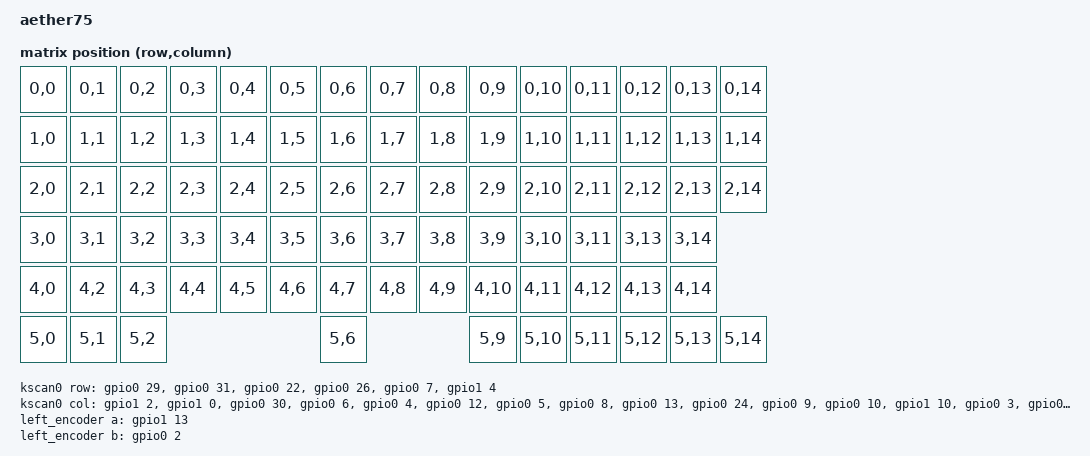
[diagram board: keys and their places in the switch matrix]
/*
 * Copyright (c) 2025 Miguelio
 *
 * SPDX-License-Identifier: MIT
 */

/dts-v1/;
#include <nordic/nrf52840_qiaa.dtsi>
#include <dt-bindings/zmk/matrix_transform.h>
#include "ansi.dtsi"
#include "aether75-pinctrl.dtsi"
#include <dt-bindings/led/led.h>

/ {
    model = "aether75";
    compatible = "aether75";

    chosen {
        zephyr,code-partition = &code_partition;
        zephyr,sram = &sram0;
        zephyr,flash = &flash0;
        zmk,kscan = &kscan0;
        zmk,physical-layout = &layout_75_ansi;
        zmk,battery = &vbatt;
        zmk,underglow = &led_strip;
    };

    kscan0: kscan {
        compatible = "zmk,kscan-gpio-matrix";
        wakeup-source;
        debounce-press-ms = <0>;
        debounce-release-ms = <15>;
        poll-period-ms = <1>;
        diode-direction = "col2row";
        row-gpios
			= <&gpio0 29 (GPIO_ACTIVE_HIGH | GPIO_PULL_DOWN)>
			, <&gpio0 31 (GPIO_ACTIVE_HIGH | GPIO_PULL_DOWN)>
			, <&gpio0 22 (GPIO_ACTIVE_HIGH | GPIO_PULL_DOWN)>
			, <&gpio0 26 (GPIO_ACTIVE_HIGH | GPIO_PULL_DOWN)>
			, <&gpio0  7 (GPIO_ACTIVE_HIGH | GPIO_PULL_DOWN)>
			, <&gpio1  4 (GPIO_ACTIVE_HIGH | GPIO_PULL_DOWN)>
			;
		col-gpios
			= <&gpio1  2 GPIO_ACTIVE_HIGH>
			, <&gpio1  0 GPIO_ACTIVE_HIGH>
			, <&gpio0 30 GPIO_ACTIVE_HIGH>
			, <&gpio0  6 GPIO_ACTIVE_HIGH>
			, <&gpio0  4 GPIO_ACTIVE_HIGH>
			, <&gpio0 12 GPIO_ACTIVE_HIGH>
			, <&gpio0  5 GPIO_ACTIVE_HIGH>
			, <&gpio0  8 GPIO_ACTIVE_HIGH>
			, <&gpio0 13 GPIO_ACTIVE_HIGH>
			, <&gpio0 24 GPIO_ACTIVE_HIGH>
			, <&gpio0  9 GPIO_ACTIVE_HIGH>
			, <&gpio0 10 GPIO_ACTIVE_HIGH>
			, <&gpio1 10 GPIO_ACTIVE_HIGH>
			, <&gpio0  3 GPIO_ACTIVE_HIGH>
			, <&gpio0 28 GPIO_ACTIVE_HIGH>
			;
    };

    default_transform: keymap_transform_0 {
        compatible = "zmk,matrix-transform";
		columns = <15>;
		rows = <6>;
        map = <
            RC(0,0) RC(0,1) RC(0,2) RC(0,3) RC(0,4) RC(0,5) RC(0,6) RC(0,7) RC(0,8) RC(0,9) RC(0,10) RC(0,11) RC(0,12) RC(0,13) RC(0,14)
            RC(1,0) RC(1,1) RC(1,2) RC(1,3) RC(1,4) RC(1,5) RC(1,6) RC(1,7) RC(1,8) RC(1,9) RC(1,10) RC(1,11) RC(1,12) RC(1,13) RC(1,14)
            RC(2,0) RC(2,1) RC(2,2) RC(2,3) RC(2,4) RC(2,5) RC(2,6) RC(2,7) RC(2,8) RC(2,9) RC(2,10) RC(2,11) RC(2,12) RC(2,13) RC(2,14)
            RC(3,0) RC(3,1) RC(3,2) RC(3,3) RC(3,4) RC(3,5) RC(3,6) RC(3,7) RC(3,8) RC(3,9) RC(3,10) RC(3,11) RC(3,13) RC(3,14)
            RC(4,0) RC(4,2) RC(4,3) RC(4,4) RC(4,5) RC(4,6) RC(4,7) RC(4,8) RC(4,9) RC(4,10) RC(4,11) RC(4,12) RC(4,13) RC(4,14)
            RC(5,0) RC(5,1) RC(5,2)                         RC(5,6)                 RC(5,9) RC(5,10) RC(5,11) RC(5,12) RC(5,13) RC(5,14)
        >;
    };

    EXT_POWER {
		compatible = "zmk,ext-power-generic";
		control-gpios = <&gpio1 9 GPIO_ACTIVE_HIGH>;
		init-delay-ms = <50>;
	};

    left_encoder: encoder_left {
		compatible = "alps,ec11";
		a-gpios = <&gpio1 13 GPIO_ACTIVE_HIGH>;
		b-gpios = <&gpio0 2 GPIO_ACTIVE_HIGH>;
		steps = <80>;
		status = "okay";
	};

    sensors: sensors {
		compatible = "zmk,keymap-sensors";
		sensors = <&left_encoder>;
		triggers-per-rotation = <20>;
	};

    vbatt: vbatt {
        compatible = "zmk,battery-nrf-vddh";
    };
};

&adc {
    status = "okay";
};

&gpiote {
    status = "okay";
};

&gpio0 {
    status = "okay";
};

&gpio1 {
    status = "okay";
};

&spi3 {
    compatible = "nordic,nrf-spim";

    pinctrl-0 = <&spi3_default>;
    pinctrl-1 = <&spi3_sleep>;
    pinctrl-names = "default", "sleep";
    status = "okay";

    led_strip: ws2812@0 {
        compatible = "worldsemi,ws2812-spi";

        /* SPI */
        reg = <0>; /* ignored, but necessary for SPI bindings */
        spi-max-frequency = <4000000>;

        /* WS2812 */
        chain-length = <6>; /* arbitrary; change at will */
        spi-one-frame = <0x70>;
        spi-zero-frame = <0x40>;

        color-mapping = <LED_COLOR_ID_GREEN LED_COLOR_ID_RED LED_COLOR_ID_BLUE>;
    };
};

&i2c0 {};

&spi1 {};

&uart0 {};

zephyr_udc0: &usbd {
    status = "okay";
};

&flash0 {
    /*
     * For more information, see:
     * http://docs.zephyrproject.org/latest/devices/dts/flash_partitions.html
     */
    partitions {
        compatible = "fixed-partitions";
        #address-cells = <1>;
        #size-cells = <1>;

        sd_partition: partition@0 {
            reg = <0x00000000 0x00001000>;
        };

        code_partition: partition@1000 {
            reg = <0x00001000 0x000d3000>;
        };

        /*
         * The flash starting at 0x000d4000 and ending at
         * 0x000f3fff is reserved for use by the application.
         */

        /*
         * Storage partition will be used by FCB/LittleFS/NVS
         * if enabled.
         */
        storage_partition: partition@d4000 {
            reg = <0x000d4000 0x00020000>;
        };

        boot_partition: partition@f4000 {
            reg = <0x000f4000 0x0000c000>;
        };
    };
};

&layout_75_ansi {
    transform = <&default_transform>;
};
